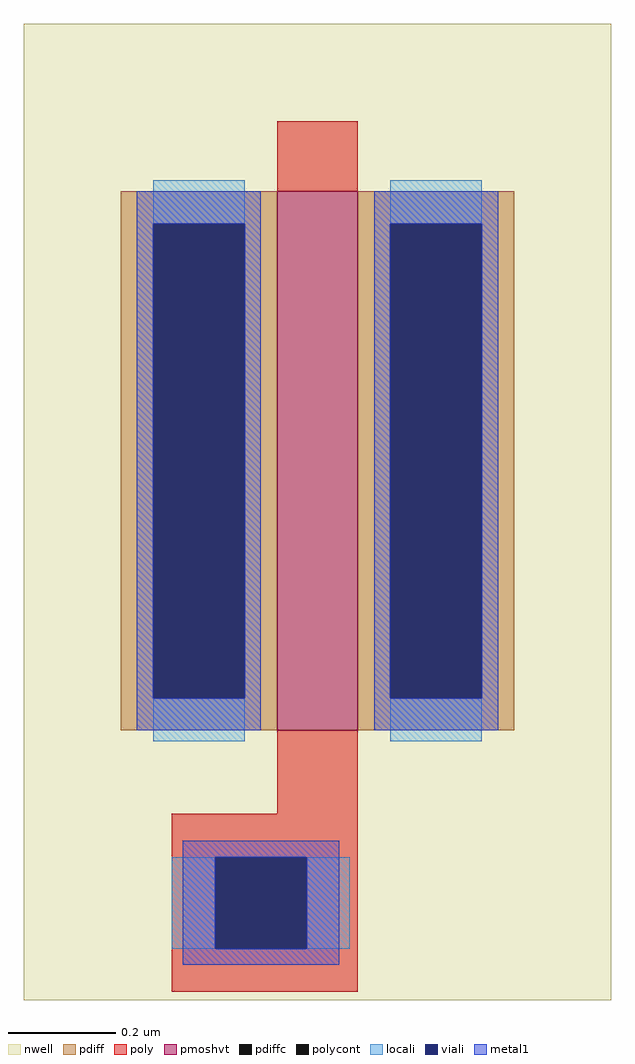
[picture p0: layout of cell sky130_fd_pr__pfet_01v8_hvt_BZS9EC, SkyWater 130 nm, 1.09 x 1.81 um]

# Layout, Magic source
magic
tech sky130A
magscale 1 2
<< nwell >>
rect -109 -164 109 198
<< pmoshvt >>
rect -15 -64 15 136
<< pdiff >>
rect -73 124 -15 136
rect -73 -52 -61 124
rect -27 -52 -15 124
rect -73 -64 -15 -52
rect 15 124 73 136
rect 15 -52 27 124
rect 61 -52 73 124
rect 15 -64 73 -52
<< pdiffc >>
rect -61 -52 -27 124
rect 27 -52 61 124
<< poly >>
rect -15 136 15 162
rect -15 -95 15 -64
rect -54 -111 15 -95
rect -54 -145 -38 -111
rect -4 -145 15 -111
rect -54 -161 15 -145
<< polycont >>
rect -38 -145 -4 -111
<< locali >>
rect -61 124 -27 140
rect -61 -68 -27 -52
rect 27 124 61 140
rect 27 -68 61 -52
rect -54 -145 -38 -111
rect -4 -145 12 -111
<< viali >>
rect -61 -52 -27 124
rect 27 -52 61 124
rect -38 -145 -4 -111
<< metal1 >>
rect -67 124 -21 136
rect -67 -52 -61 124
rect -27 -52 -21 124
rect -67 -64 -21 -52
rect 21 124 67 136
rect 21 -52 27 124
rect 61 -52 67 124
rect 21 -64 67 -52
rect -50 -111 8 -105
rect -50 -145 -38 -111
rect -4 -145 8 -111
rect -50 -151 8 -145
<< properties >>
string gencell sky130_fd_pr__pfet_01v8_hvt
string parameters w 1 l 0.15 m 1 nf 1 diffcov 100 polycov 100 guard 0 glc 0 grc 0 gtc 0 gbc 0 tbcov 100 rlcov 100 topc 0 botc 1 poverlap 0 doverlap 1 lmin 0.15 wmin 0.42 compatible {sky130_fd_pr__pfet_01v8  sky130_fd_pr__pfet_01v8_lvt sky130_fd_pr__pfet_01v8_hvt  sky130_fd_pr__pfet_g5v0d10v5} full_metal 0 viasrc 100 viadrn 100 viagate 100 viagb 0 viagr 0 viagl 0 viagt 0
string library sky130
<< end >>
